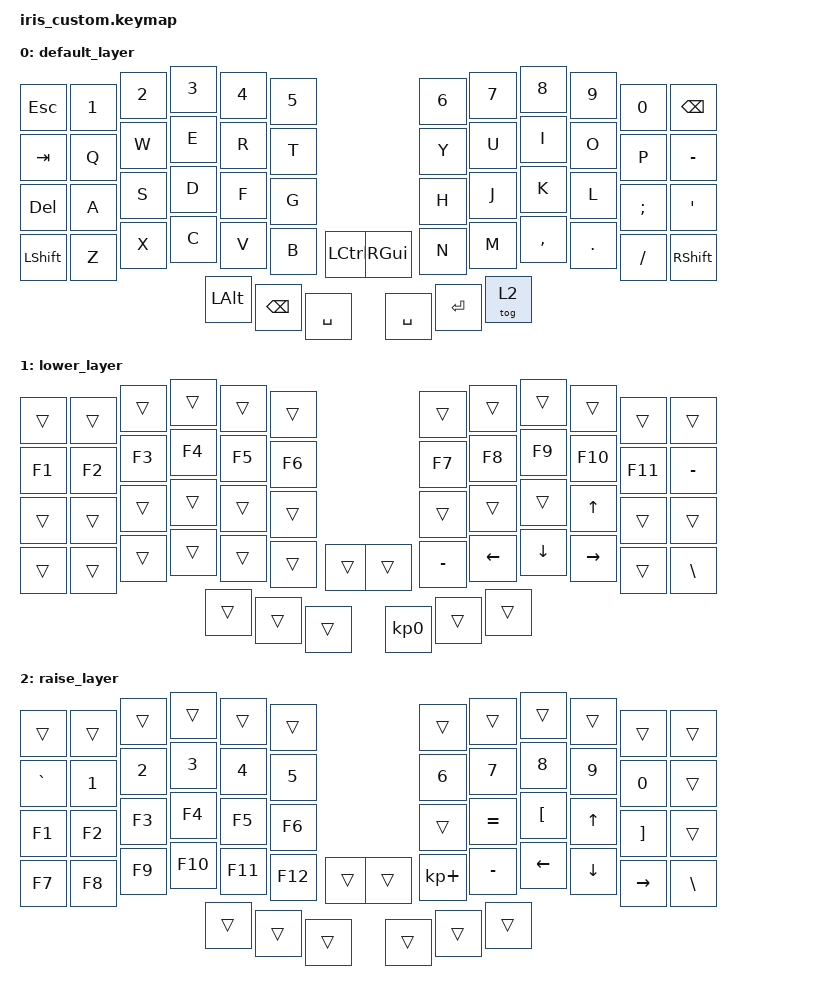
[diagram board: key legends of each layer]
/*
 * Copyright (c) 2020 The ZMK Contributors
 *
 * SPDX-License-Identifier: MIT
 */

#include <behaviors.dtsi>
#include <dt-bindings/zmk/keys.h>
#include <dt-bindings/zmk/bt.h>

/ {
    keymap {
        compatible = "zmk,keymap";

        default_layer {
// ------------------------------------------------------------------------------------------------------------
// |  ESC  |  1  |  2  |  3   |  4   |  5   |                   |  6   |  7    |  8    |  9   |   0   |   `   |
// |  TAB  |  Q  |  W  |  E   |  R   |  T   |                   |  Y   |  U    |  I    |  O   |   P   |   -   |
// |  CTRL |  A  |  S  |  D   |  F   |  G   |                   |  H   |  J    |  K    |  L   |   ;   |   '   |
// | SHIFT |  Z  |  X  |  C   |  V   |  B   |   "["  |  |  "]"  |  N   |  M    |  ,    |  .   |   /   | SHIFT |
//                            | GUI  | LOWER|  SPACE |  | ENTER | RAISE|  ALT  |
            bindings = <
&kp ESC   &kp N1 &kp N2 &kp N3 &kp N4   &kp N5                      &kp N6 &kp N7 &kp N8    &kp N9  &kp N0   &kp BSPC
&kp TAB   &kp Q  &kp W  &kp E  &kp R    &kp T                       &kp Y  &kp U  &kp I     &kp O   &kp P    &kp MINUS
&kp DEL &kp A  &kp S  &kp D  &kp F    &kp G                       &kp H  &kp J  &kp K     &kp L   &kp SEMI &kp SQT
&kp LSHFT &kp Z  &kp X  &kp C  &kp V    &kp B   &kp LCTRL  &kp RGUI  &kp N  &kp M  &kp COMMA &kp DOT &kp FSLH &kp RSHFT
                              &kp LALT &kp BSPC   &kp SPACE &kp SPACE   &kp RET  &tog 2
            >;
        };

        lower_layer {
// ------------------------------------------------------------------------------------------------------------
// |       |     |     |      |      |      |                   |      |       |       |      |       |       |
// |  F1   |  F2 |  F3 |  F4  |  F5  |  F6  |                   |  F7  |  F8   |  F9   |  F10 |  F11  |   -   |
// |       |     |     |      |      |      |                   |      |       |       |  UP  |       |       |
// |       |     |     |      |      |      |        |  |       |   -   | LEFT  | DOWN | RIGHT|       |  \    |
//                            |      |      |        |  |       |      |       |
            bindings = <
&trans &trans &trans &trans &trans &trans                      &trans &trans &trans &trans &trans &trans
&kp F1 &kp F2   &kp F3 &kp F4   &kp F5   &kp F6                &kp F7 &kp F8 &kp F9 &kp F10  &kp F11 &kp MINUS
&trans &trans &trans &trans &trans &trans                      &trans &trans &trans &kp UP   &trans  &trans
&trans &trans &trans &trans &trans &trans &trans &trans       &kp MINUS &kp LEFT &kp DOWN &kp RIGHT &trans &kp BSLH
                                                  &trans &trans &trans   &kp KP_N0   &trans    &trans
            >;
        };

        raise_layer {
// ------------------------------------------------------------------------------------------------------------
// |       |     |     |      |      |      |                   |      |       |       |      |       |       |
// |   `   |  1  |  2  |  3   |  4   |  5   |                   |  6   |   7   |   8   |  9   |   0   |       |
// |   F1  |  F2 |  F3 |  F4  |  F5  |  F6  |                   |      |   <-  |   ^   |  v   |  ->   |       |
// |   F7  |  F8 |  F9 |  F10 |  F11 |  F12 |        |  |       |  +   |   -   |   =   |  [   |   ]   |   \   |
//                            |      |      |        |  |       |      |       |
            bindings = <
&trans    &trans &trans &trans  &trans  &trans                       &trans      &trans    &trans    &trans   &trans    &trans
&kp GRAVE &kp N1 &kp N2 &kp N3  &kp N4  &kp N5                       &kp N6      &kp N7    &kp N8    &kp N9   &kp N0    &trans
&kp F1    &kp F2 &kp F3 &kp F4  &kp F5  &kp F6                       &trans      &kp EQUAL  &kp LBKT  &kp UP   &kp RBKT &trans
&kp F7    &kp F8 &kp F9 &kp F10 &kp F11 &kp F12   &trans   &trans    &kp KP_PLUS &kp MINUS &kp LEFT &kp DOWN &kp RIGHT  &kp BSLH
                                &trans  &trans    &trans   &trans    &trans      &trans
            >;
        };
    };
};
